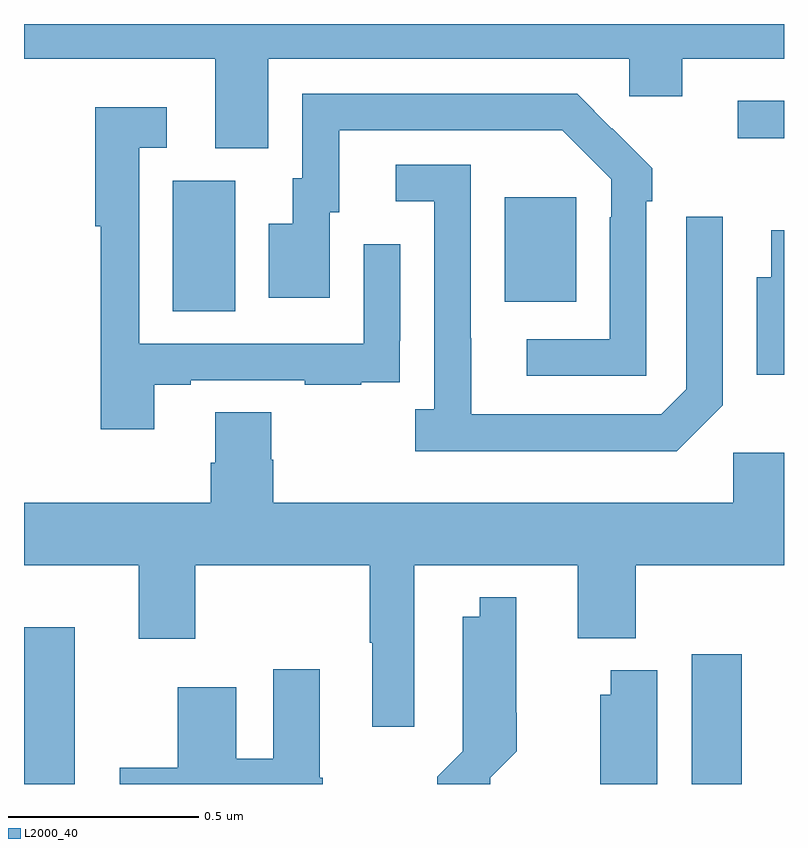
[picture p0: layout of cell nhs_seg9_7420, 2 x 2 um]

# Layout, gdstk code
import gdstk
lib = gdstk.Library(unit=1e-6, precision=1e-09)
def R(c, l, rs):  # rectangles x0, y0, x1, y1
    for r in rs: c.add(gdstk.rectangle(r[:2], r[2:], *l))
def P(c, l, *ps):  # polygons
    for p in ps: c.add(gdstk.Polygon(p, *l))
L2000_40 = (2000, 40)

nhs_seg9_7420 = lib.new_cell('nhs_seg9_7420')
R(nhs_seg9_7420, L2000_40, [(204,1206.5,204.133,1206.913), (205.757,1206.5,205.889,1206.841), (204.392,1207.744,204.556,1208.088), (205.265,1207.769,205.453,1208.044), (205.878,1208.2,206,1208.298)])
P(nhs_seg9_7420, L2000_40, [(204.643,1208.408),(205.593,1208.408),(205.593,1208.31),(205.732,1208.31),(205.732,1208.408),(206,1208.408),(206,1208.5),(204,1208.5),(204,1208.408),(204.503,1208.408),(204.503,1208.173),(204.643,1208.173)],
  [(205.638,1208.033),(205.653,1208.033),(205.653,1208.121),(205.548,1208.226),(205.547,1208.225),(205.456,1208.316),(204.732,1208.316),(204.732,1208.094),(204.707,1208.094),(204.707,1207.975),(204.644,1207.975),(204.644,1207.779),(204.805,1207.779),(204.805,1208.004),(204.829,1208.004),(204.829,1208.22),(205.417,1208.22),(205.545,1208.091),(205.545,1207.991),(205.542,1207.991),(205.542,1207.671),(205.323,1207.671),(205.323,1207.575),(205.638,1207.575)],
  [(204.343,1207.551),(204.439,1207.551),(204.439,1207.563),(204.739,1207.563),(204.739,1207.551),(204.887,1207.551),(204.887,1207.557),(204.989,1207.557),(204.989,1207.666),(204.99,1207.666),(204.99,1207.921),(204.894,1207.921),(204.894,1207.659),(204.303,1207.659),(204.303,1208.175),(204.376,1208.175),(204.376,1208.281),(204.187,1208.281),(204.187,1207.968),(204.202,1207.968),(204.202,1207.434),(204.343,1207.434)],
  [(205.839,1207.497),(205.839,1207.993),(205.743,1207.993),(205.743,1207.539),(205.677,1207.473),(205.177,1207.473),(205.177,1207.673),(205.176,1207.673),(205.176,1208.13),(204.978,1208.13),(204.978,1208.034),(205.08,1208.034),(205.08,1207.486),(205.029,1207.486),(205.029,1207.376),(205.718,1207.376)],
  [(206,1207.957),(205.967,1207.957),(205.967,1207.834),(205.928,1207.834),(205.928,1207.577),(206,1207.577)],
  [(205.027,1207.076),(205.457,1207.076),(205.457,1206.884),(205.61,1206.884),(205.61,1207.076),(206,1207.076),(206,1207.372),(205.866,1207.372),(205.866,1207.24),(204.656,1207.24),(204.656,1207.353),(204.651,1207.353),(204.651,1207.478),(204.503,1207.478),(204.503,1207.346),(204.491,1207.346),(204.491,1207.24),(204,1207.24),(204,1207.076),(204.302,1207.076),(204.302,1206.882),(204.45,1206.882),(204.45,1207.076),(204.91,1207.076),(204.91,1206.872),(204.917,1206.872),(204.917,1206.651),(205.027,1206.651)],
  [(205.227,1206.516),(205.297,1206.586),(205.297,1206.688),(205.296,1206.688),(205.296,1206.991),(205.199,1206.991),(205.199,1206.94),(205.154,1206.94),(205.154,1206.586),(205.087,1206.519),(205.087,1206.5),(205.227,1206.5)],
  [(204.786,1206.517),(204.778,1206.517),(204.778,1206.802),(204.656,1206.802),(204.656,1206.566),(204.559,1206.566),(204.559,1206.754),(204.404,1206.754),(204.404,1206.543),(204.252,1206.543),(204.252,1206.5),(204.786,1206.5)],
  [(205.666,1206.799),(205.544,1206.799),(205.544,1206.735),(205.517,1206.735),(205.517,1206.5),(205.666,1206.5)])

lib.write_gds('nhs_seg9_7420.gds')
